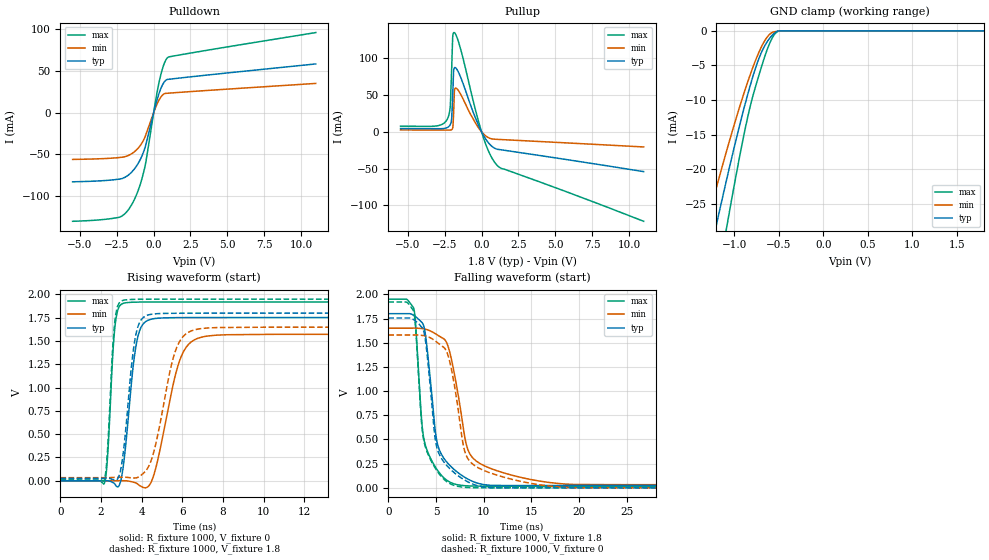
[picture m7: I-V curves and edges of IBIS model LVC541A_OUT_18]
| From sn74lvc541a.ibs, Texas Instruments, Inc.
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[Model]   LVC541A_OUT_18
Model_type  3-state
Enable   Active-Low
Vref =   0
Rref =   1000
Cref =   30p
Vmeas =   0.9
| variable   typ   min   max
C_comp   5.10pF   4.95pF   5.58pF
| C_pullup   6.75pF   5.68pF   7.33pF
| C_pulldown   6.46pF   4.91pF   7.49pF
| C_tri-state   5.10pF   4.95pF   5.58pF
[Temperature Range]   40   100   -40
| Ambient temperature   25   85   -40
[Voltage range]   1.8   1.65   1.95
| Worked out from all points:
|   slope of the pulldown table from 0 to 0.27 V, typ, clamps not added: 15.1 ohm
|   slope of the pullup table from 0 to 0.27 V, typ, clamps not added: 28.4 ohm
|   GND clamp passes 1 mA (typ) near -0.60 V on its own axis
|   rising waveform, R_fixture 1000, V_fixture 0: 20-80 % time 488ps typ, 937ps min, 279ps max; typ from 0 V to 1.75 V
|   falling waveform, R_fixture 1000, V_fixture 1.8: 20-80 % time 1.34ns typ, 1.9ns min, 1.06ns max; typ from 1.8 V to 0.024 V
|   rising waveform, R_fixture 1000, V_fixture 1.8: 20-80 % time 482ps typ, 913ps min, 276ps max; typ from 0.024 V to 1.8 V
|   falling waveform, R_fixture 1000, V_fixture 0: 20-80 % time 1.29ns typ, 1.73ns min, 1.08ns max; typ from 1.75 V to 0 V
[GND Clamp]
| LVC541A_OUT_18
|   Voltage   I(typ)   I(min)   I(max)
-5.5V     -321.8mA   -262.7mA   -422.4mA
-1.305V   -34.31mA   -27.76mA   -45.23mA
-1.215V   -28.98mA   -23.42mA   -38.25mA
-1.175V   -26.66mA   -21.53mA   -35.21mA
-1.095V   -22.1mA    -17.83mA   -29.24mA
-1.055V   -19.88mA   -16.03mA   -26.32mA
-875mV    -10.5mA    -8.444mA   -14.1mA
-755mV    -5.2mA     -4.123mA   -7.854mA
-630mV    -1.597mA   -915.3uA   -2.739mA
-575mV    -667.3uA   -257.6uA   -1.094mA
-525mV    -136.2uA   -93.4uA    -206.7uA
1.8V      42pA       10.11nA    -4.722nA
[Pulldown]
| LVC541A_OUT_18
|   Voltage   I(typ)   I(min)   I(max)
-5.5V     -82.73mA   -55.94mA   -130mA
-2.355V   -79.61mA   -53.69mA   -125.3mA
-1.925V   -77.12mA   -52.52mA   -120.5mA
-1.5V     -71.23mA   -49.17mA   -110.4mA
-1.035V   -60.18mA   -42.1mA    -92.3mA
-650mV    -45.2mA    -31.54mA   -69.04mA
-510mV    -37.02mA   -25.33mA   -57.03mA
95mV      6.763mA    4.551mA    10.52mA
350mV     22.27mA    14.65mA    34.89mA
665mV     35.28mA    22.05mA    56.3mA
965mV     39.86mA    23.3mA     66.19mA
11V       58.34mA    35.01mA    95.88mA
[Pullup]
| LVC541A_OUT_18
|   Voltage   I(typ)   I(min)   I(max)
-5.5V     4.639mA    2.686mA    7.823mA
-2.345V   5.782mA    2.465mA    16.69mA
-2.135V   9.567mA    2.492mA    32.95mA
-2.04V    16.07mA    2.958mA    79.72mA
-1.96V    48.97mA    5.215mA    128.8mA
-1.9V     82.42mA    24.57mA    134.9mA
-1.855V   86.96mA    49.9mA     135.3mA
-1.8V     87.66mA    59.13mA    134.2mA
-1.6V     82.54mA    57.16mA    124.8mA
90mV      -3.443mA   -1.988mA   -5.742mA
1.07V     -23.65mA   -10.14mA   -45.83mA
11V       -54.09mA   -20.5mA    -121.7mA
[Ramp]
| LVC541A_OUT_18
| variable   typ   min   max
dV/dt_r   1.09/5.10E-10   0.99/9.78E-10   1.17/2.90E-10
dV/dt_f   1.07/1.34E-09   0.97/1.90E-09   1.16/1.06E-09
R_load = 1000
[Rising Waveform]
| LVC541A_OUT_18
R_fixture =   1000
C_fixture =   0
L_fixture =   0
V_fixture =   0
V_fixture_min = 0
V_fixture_max = 0
|   Time   V(typ)   V(min)   V(max)
0s        631.3pV    3.479nV    92.31nV
2.17ns    -181.3uV   -397.7uV   -22.38mV
2.695ns   -41.1mV    -265.2uV   1.68V
3.2ns     359.2mV    -516.9uV   1.91V
3.64ns    1.337V     -18.39mV   1.917V
4.01ns    1.665V     -65.85mV   1.919V
4.61ns    1.74V      72.88mV    1.919V
5.96ns    1.752V     1.343V     1.92V
7.19ns    1.752V     1.552V     1.92V
50ns      1.753V     1.573V     1.92V
[Falling Waveform]
| LVC541A_OUT_18
R_fixture =   1000
C_fixture =   0
L_fixture =   0
V_fixture =   1.8
V_fixture_min = 1.65
V_fixture_max = 1.95
|   Time   V(typ)   V(min)   V(max)
0s        1.8V       1.65V      1.95V
2.67ns    1.782V     1.651V     1.851V
3.655ns   1.689V     1.644V     546.9mV
4.01ns    1.488V     1.637V     401.8mV
5.09ns    480.8mV    1.583V     191.3mV
6.06ns    274.2mV    1.51V      83.82mV
6.705ns   206.9mV    1.287V     47.87mV
8.45ns    84.71mV    369.6mV    20.15mV
12.24ns   24.56mV    150.6mV    17.43mV
50ns      24.28mV    32.91mV    16.96mV
[Rising Waveform]
| LVC541A_OUT_18
R_fixture =   1000
C_fixture =   0
L_fixture =   0
V_fixture =   1.8
V_fixture_min = 1.65
V_fixture_max = 1.95
|   Time   V(typ)   V(min)   V(max)
0s        24.25mV    32.8mV     16.95mV
2.15ns    26.04mV    32.93mV    1.72mV
2.675ns   8.458mV    36.24mV    1.71V
3.125ns   365mV      37.5mV     1.939V
3.575ns   1.382V     29.61mV    1.947V
3.915ns   1.709V     51.4mV     1.948V
4.565ns   1.79V      287.9mV    1.949V
5.715ns   1.798V     1.428V     1.95V
6.825ns   1.799V     1.631V     1.95V
50ns      1.8V       1.65V      1.95V
[Falling Waveform]
| LVC541A_OUT_18
R_fixture =   1000
C_fixture =   0
L_fixture =   0
V_fixture =   0
V_fixture_min = 0
V_fixture_max = 0
|   Time   V(typ)   V(min)   V(max)
0s        1.755V     1.579V     1.921V
2.665ns   1.737V     1.58V      1.821V
3.655ns   1.636V     1.574V     523.3mV
4.01ns    1.427V     1.567V     385.6mV
5.02ns    446.7mV    1.51V      187.8mV
6.07ns    237.1mV    1.417V     68.15mV
6.74ns    171.2mV    1.162V     30.68mV
8.245ns   66.95mV    318.7mV    4.318mV
12.3ns    277.2uV    105.1mV    469.2uV
50ns      25.32uV    101.2uV    11.11uV
